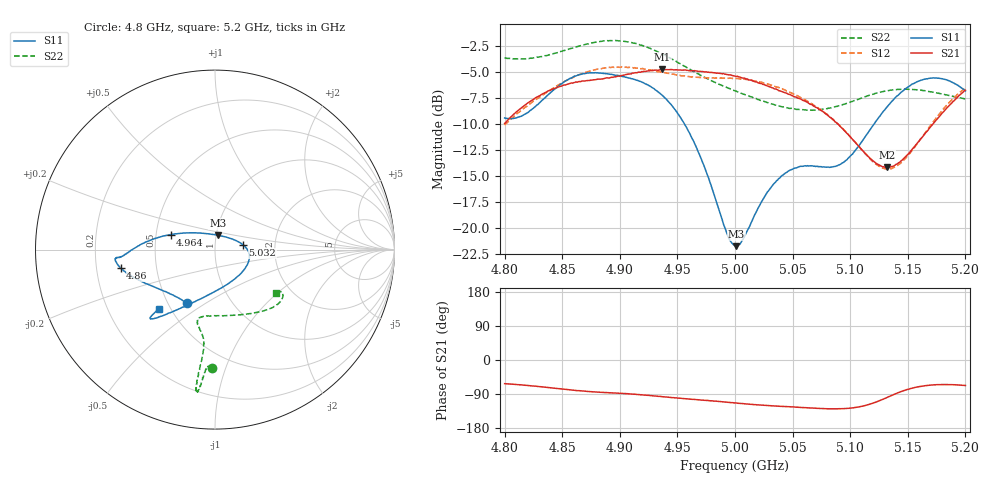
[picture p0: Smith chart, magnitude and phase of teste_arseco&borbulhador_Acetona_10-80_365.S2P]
! Network Analyzer HP8722D
! Hewlett-Packard
! Data name: Linha & Wilkinson
! Saver's name: Rodrigo Anjos
! Comments: Teste da utilização de aquisição
! continua pelo VNA HP8722D
! Time and date: 17/4/2025 17:24
!  Frequency  S11  S21  S12  S22
# HZ  S  MA R 50
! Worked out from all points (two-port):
!   401 points, 4.8 GHz to 5.2 GHz, reference 50 ohm
!   highest |S21| = -4.75 dB at 4.937 GHz (marker M1); lowest = -14.2 dB at 5.132 GHz (marker M2)
!   |S21| within 3 dB of the highest: 4.823 GHz to 5.06 GHz (236.3 MHz wide, 4.78 % of centre); 5.190259 GHz to end of sweep
!   lowest |S11| = -21.8 dB at 5.001 GHz (marker M3), VSWR 1.18, Z = 50.9 + j8.2 ohm
!   |S11| at or under -10 dB: 4.956 GHz to 5.121 GHz (164.7 MHz wide, 3.27 % of centre)
!   |S22| runs from -8.7 to -1.9 dB; largest |S21 - S12| = 0.87
!   S11 on the Smith chart (normalised r, x): 4.8 GHz: 0.62, -0.42; 4.86 GHz: 0.31, -0.09; 4.964 GHz: 0.60, +0.11; 5.032 GHz: 1.37, +0.07; 5.2 GHz: 0.43, -0.36
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4.8e9  0.3382 -117.4  0.3178 -62.5  0.3123 -176.8  0.6577 -91.6
4.819e9  0.3562 -137.6  0.3954 -66.9  0.3838 -176.5  0.6537 -93.3
4.86e9  0.5356 -168.9  0.5002 -79.7  0.5316 -179.8  0.7372 -95.7
4.867e9  0.5504 -171.5  0.5094 -81.9  0.5518 178.8  0.7566 -96.0
4.898e9  0.5422 -175.3  0.5378 -87.6  0.5947 173.1  0.7974 -97.3
4.934e9  0.4489 179.0  0.575 -96.0  0.5661 169.6  0.6989 -97.6
4.937e9  0.4341 177.8  0.579 -96.9  0.5613 169.9  0.688 -97.5
4.964e9  0.2615 161.3  0.5704 -103.8  0.5321 171.6  0.5667 -96.6
4.993e9  0.09388 111.1  0.5473 -111.4  0.5254 173.8  0.474 -99.0
5e9  0.08214 83.3  0.5374 -113.4  0.5249 173.9  0.4574 -100.3
5.001e9  0.08145 79.0  0.536 -113.5  0.524 173.8  0.4554 -100.7
5.006e9  0.08643 59.6  0.5273 -114.9  0.5231 173.7  0.4435 -101.6
5.032e9  0.1582 9.6  0.4732 -121.0  0.4866 172.7  0.3948 -103.3
5.048e9  0.1897 -5.3  0.4379 -123.6  0.4485 171.9  0.3759 -98.9
5.067e9  0.1988 -25.6  0.3909 -126.7  0.3952 171.7  0.3682 -88.1
5.095e9  0.2081 -74.0  0.2934 -128.2  0.2946 174.6  0.3938 -66.3
5.119e9  0.3065 -110.4  0.2118 -114.7  0.2094 -169.9  0.4391 -50.5
5.132e9  0.3821 -120.8  0.1953 -98.8  0.192 -152.1  0.4568 -44.1
5.134e9  0.3936 -122.0  0.1955 -96.1  0.192 -149.1  0.4593 -43.4
5.146e9  0.4582 -127.4  0.2144 -81.4  0.2098 -132.0  0.4655 -38.9
5.168e9  0.5242 -132.6  0.2978 -66.9  0.3018 -113.2  0.453 -33.6
5.2e9  0.4561 -133.5  0.4607 -67.4  0.4713 -109.4  0.4174 -35.2
